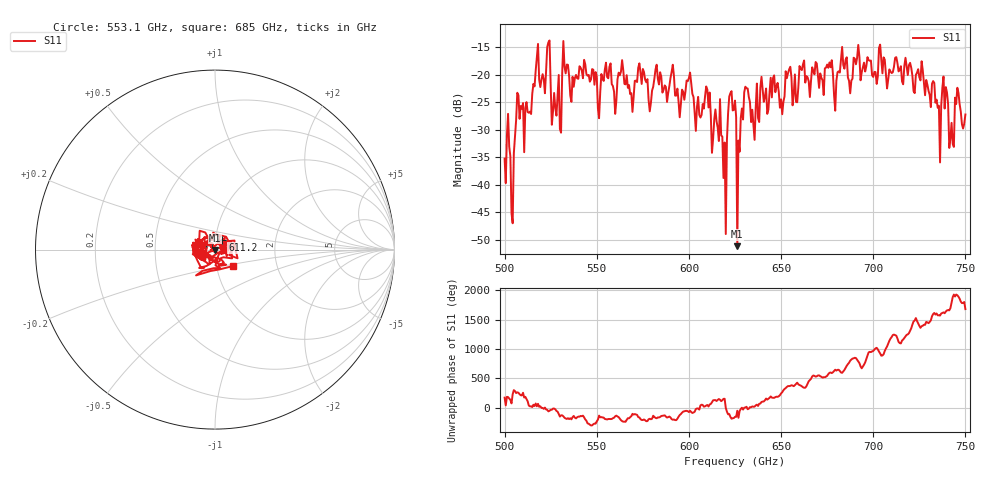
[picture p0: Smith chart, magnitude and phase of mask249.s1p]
!Created with skrf (http://scikit-rf.org).
# GHz S MA R 50.0
!freq magS11 angS11
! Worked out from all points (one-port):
!   401 points, 500 GHz to 750 GHz, reference 50 ohm
!   lowest |S11| = -51.2 dB at 626.2 GHz (marker M1), VSWR 1.01, Z = 50.2 - j0.222 ohm
!   |S11| at or under -10 dB: start of sweep to end of sweep
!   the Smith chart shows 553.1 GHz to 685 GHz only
!   S11 on the Smith chart (normalised r, x): 553.1 GHz: 0.83, -0.03; 611.2 GHz: 1.08, +0.12; 685 GHz: 1.20, -0.22
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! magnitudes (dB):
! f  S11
! 500 GHz  -35.3
! 504.4 GHz  -47.0
! 507.5 GHz  -23.8
! 511.9 GHz  -25.0
! 516.9 GHz  -19.2
! 523.8 GHz  -14.1
! 526.9 GHz  -23.3
! 531.2 GHz  -19.7
! 533.1 GHz  -19.8
! 553.1 GHz  -20.7
! 562.5 GHz  -20.1
! 593.8 GHz  -22.5
! 611.2 GHz  -23.3
! 618.8 GHz  -38.8
! 622.5 GHz  -23.4
! 625 GHz  -24.7
! 626.2 GHz  -51.2
! 631.2 GHz  -22.5
! 635 GHz  -29.1
! 656.2 GHz  -25.6
! 685 GHz  -17.3
! 687.5 GHz  -23.4
! 718.8 GHz  -20.1
! 735 GHz  -26.0
! 738.8 GHz  -26.2
! 742.5 GHz  -28.8
! 745.6 GHz  -22.4
! 750 GHz  -27.2
